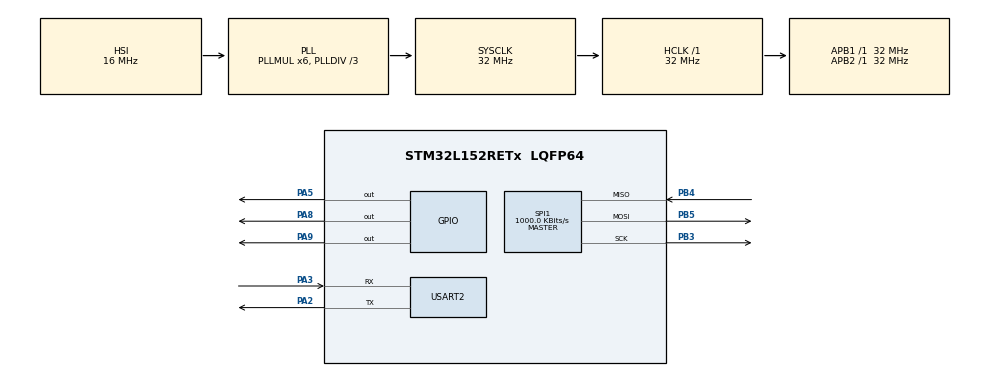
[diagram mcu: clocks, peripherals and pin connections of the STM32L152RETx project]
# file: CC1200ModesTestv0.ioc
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Mcu.Family=STM32L1
Mcu.Name=STM32L152RETx
Mcu.Package=LQFP64
NVIC.PriorityGroup=NVIC_PRIORITYGROUP_0
PA2.Mode=Asynchronous
PA2.Signal=USART2_TX
PA3.Mode=Asynchronous
PA3.Signal=USART2_RX
PA5.Signal=GPIO_Output
PA8.Signal=GPIO_Output
PA9.Signal=GPIO_Output
PB3.Mode=Full_Duplex_Master
PB3.Signal=SPI1_SCK
PB4.Mode=Full_Duplex_Master
PB4.Signal=SPI1_MISO
PB5.Mode=Full_Duplex_Master
PB5.Signal=SPI1_MOSI
ProjectManager.HeapSize=0x200
ProjectManager.StackSize=0x400
ProjectManager.TargetToolchain=MDK-ARM V5
RCC.48MHZClocksFreq_Value=48000000
RCC.AHBFreq_Value=32000000
RCC.APB1Freq_Value=32000000
RCC.APB1TimFreq_Value=32000000
RCC.APB2Freq_Value=32000000
RCC.APB2TimFreq_Value=32000000
RCC.HCLKFreq_Value=32000000
RCC.HSE_VALUE=8000000
RCC.HSI_VALUE=16000000
RCC.LSE_VALUE=32768
RCC.MSI_VALUE=2097000
RCC.PLLDIV=RCC_PLL_DIV3
RCC.PLLMUL=RCC_PLL_MUL6
RCC.RTCClockSelectionVirtual=RCC_RTCCLKSOURCE_LSE
RCC.SYSCLKFreq_VALUE=32000000
RCC.SYSCLKSource=RCC_SYSCLKSOURCE_PLLCLK
RCC.USBOutput=48000000
RCC.VCOOutputFreq_Value=96000000
SPI1.BaudRatePrescaler=SPI_BAUDRATEPRESCALER_32
SPI1.CalculateBaudRate=1000.0 KBits/s
SPI1.Direction=SPI_DIRECTION_2LINES
SPI1.Mode=SPI_MODE_MASTER
SPI1.VirtualType=VM_MASTER
USART2.VirtualMode=VM_ASYNC
board=NUCLEO-L152RE

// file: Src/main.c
/* USER CODE BEGIN Header */
/**
  ******************************************************************************
  * @file           : main.c
  * @brief          : Main program body
  ******************************************************************************
  ** This notice applies to any and all portions of this file
  * that are not between comment pairs USER CODE BEGIN and
  * USER CODE END. Other portions of this file, whether
  * inserted by the user or by software development tools
  * are owned by their respective copyright owners.
  *
  * COPYRIGHT(c) 2019 STMicroelectronics
  *
  * Redistribution and use in source and binary forms, with or without modification,
  * are permitted provided that the following conditions are met:
  *   1. Redistributions of source code must retain the above copyright notice,
  *      this list of conditions and the following disclaimer.
  *   2. Redistributions in binary form must reproduce the above copyright notice,
  *      this list of conditions and the following disclaimer in the documentation
  *      and/or other materials provided with the distribution.
  *   3. Neither the name of STMicroelectronics nor the names of its contributors
  *      may be used to endorse or promote products derived from this software
  *      without specific prior written permission.
  *
  * THIS SOFTWARE IS PROVIDED BY THE COPYRIGHT HOLDERS AND CONTRIBUTORS "AS IS"
  * AND ANY EXPRESS OR IMPLIED WARRANTIES, INCLUDING, BUT NOT LIMITED TO, THE
  * IMPLIED WARRANTIES OF MERCHANTABILITY AND FITNESS FOR A PARTICULAR PURPOSE ARE
  * DISCLAIMED. IN NO EVENT SHALL THE COPYRIGHT HOLDER OR CONTRIBUTORS BE LIABLE
  * FOR ANY DIRECT, INDIRECT, INCIDENTAL, SPECIAL, EXEMPLARY, OR CONSEQUENTIAL
  * DAMAGES (INCLUDING, BUT NOT LIMITED TO, PROCUREMENT OF SUBSTITUTE GOODS OR
  * SERVICES; LOSS OF USE, DATA, OR PROFITS; OR BUSINESS INTERRUPTION) HOWEVER
  * CAUSED AND ON ANY THEORY OF LIABILITY, WHETHER IN CONTRACT, STRICT LIABILITY,
  * OR TORT (INCLUDING NEGLIGENCE OR OTHERWISE) ARISING IN ANY WAY OUT OF THE USE
  * OF THIS SOFTWARE, EVEN IF ADVISED OF THE POSSIBILITY OF SUCH DAMAGE.
  *
  ******************************************************************************
  */
/* USER CODE END Header */

#include "main.h"

/* USER CODE BEGIN Includes */

#include "string.h"

/* USER CODE END Includes */

SPI_HandleTypeDef hspi1;

UART_HandleTypeDef huart2;

void SystemClock_Config(void);
static void MX_GPIO_Init(void);
static void MX_SPI1_Init(void);
static void MX_USART2_UART_Init(void);
/* USER CODE BEGIN PFP */

void trxRfSpiInterfaceInit(uint8_t prescalerValue);
uint8_t trx8BitRegAccess(uint8_t accessType, uint8_t addrByte, uint8_t *pData, int len);

/* USER CODE END PFP */

/* USER CODE BEGIN 0 */

#define TESTS 7

//#define SPI_BEGIN()       SPI_CS_N_PIN = 0                // Pull CSn low to start communication
#define SPI_TX(x)         HAL_SPI_Transmit(&hspi1, x, 1, 10)                    // Load x into SPI buffer
#define SPI_WAIT_READY()  while (HAL_SPI_GetState(&hspi1) != HAL_SPI_STATE_READY)   // Wait for receive buffer to fill
#define SPI_RX(x)         HAL_SPI_Receive(&hspi1, x, 1, 10)                        // SPI buffer to read
//#define SPI_END()         SPI_CS_N_PIN = 1                // Pull CSn high to end communication

#define RADIO_BURST_ACCESS   0x40
#define RADIO_SINGLE_ACCESS  0x00
#define RADIO_READ_ACCESS    0x80
#define RADIO_WRITE_ACCESS   0x00

//#define SPI_TX SPI_WriteByte
//#define SPI_RX SPI_ReadByte

#define RADIO_IDLE 0x36
#define RADIO_NOP 0x3D
#define RADIO_RX 0x34
#define RADIO_TX 0x35

uint8_t pDataRead;

/* USER CODE END 0 */

int main(void)
{

  /* MCU Configuration--------------------------------------------------------*/

  /* Reset of all peripherals, Initializes the Flash interface and the Systick. */
  HAL_Init();

  /* Configure the system clock */
  SystemClock_Config();

  /* Initialize all configured peripherals */
  MX_GPIO_Init();
  MX_SPI1_Init();
  MX_USART2_UART_Init();
  /* USER CODE BEGIN 2 */

	/* Start CC1200 SPI Test Harness
	 *
	 * Wiring:
	 * Reset -- D7 (PA8)
	 * CSN   -- D8 (PA9)
	 * SCLK  -- D3 (PB3)
	 * MOSI  -- D4 (PB5)
	 * MISO  -- D5 (PB4)
	 */

//	//Set CS high
	HAL_GPIO_WritePin(GPIOA, GPIO_PIN_9, GPIO_PIN_SET);

	//Set reset high, low, high to begin
	HAL_GPIO_WritePin(GPIOA, GPIO_PIN_8, GPIO_PIN_SET);
	HAL_Delay(10);
	HAL_GPIO_WritePin(GPIOA, GPIO_PIN_8, GPIO_PIN_RESET);
	HAL_Delay(10);
	HAL_GPIO_WritePin(GPIOA, GPIO_PIN_8, GPIO_PIN_SET);
	HAL_Delay(10);

	volatile uint8_t stByte;
    uint8_t wrData = 0x00;
	uint8_t correct = 0;
	uint8_t testOpener [35] = "\r\n\r\nCC1200 Mode Switching Test...\r\n";
	uint8_t idleOpener [16] = "\r\nIdle Mode...  ";
	uint8_t txOpener [16] = "\r\nTX Mode...    ";
	uint8_t rxOpener [16] = "\r\nRX Mode...    ";
	uint8_t statusCheck [28];
	snprintf((char *)statusCheck, sizeof(statusCheck), "Status byte is 0x.2%u, [%u/%d]\r\n", stByte, correct, TESTS);

//    uint8_t addr;

	HAL_UART_Transmit(&huart2, testOpener, sizeof(testOpener), 1);

	// IDLE test
	HAL_UART_Transmit(&huart2, idleOpener, sizeof(idleOpener), 1);
	stByte = trx8BitRegAccess(RADIO_WRITE_ACCESS | RADIO_SINGLE_ACCESS, RADIO_IDLE, &wrData, sizeof (wrData));
	HAL_Delay(10);
	stByte = trx8BitRegAccess(RADIO_WRITE_ACCESS | RADIO_SINGLE_ACCESS, RADIO_NOP, &wrData, sizeof (wrData));
	HAL_Delay(10);
	if((stByte>>4) == 0){
		correct++;
	}

	snprintf((char *)statusCheck, sizeof(statusCheck), "Status byte is 0x%.2X, [%u/%d]\r\n", stByte, correct, TESTS);
	HAL_UART_Transmit(&huart2, statusCheck, sizeof(statusCheck), 1);

	// TX test
	HAL_UART_Transmit(&huart2, txOpener, sizeof(txOpener), 1);
	stByte = trx8BitRegAccess(RADIO_WRITE_ACCESS | RADIO_SINGLE_ACCESS, RADIO_TX, &wrData, sizeof (wrData));
	HAL_Delay(10);
	stByte = trx8BitRegAccess(RADIO_WRITE_ACCESS | RADIO_SINGLE_ACCESS, RADIO_NOP, &wrData, sizeof (wrData));
	HAL_Delay(10);

	if((stByte>>4) == 2){
		correct++;
	}

	snprintf((char *)statusCheck, sizeof(statusCheck), "Status byte is 0x%.2X, [%u/%d]\r\n", stByte, correct, TESTS);
	HAL_UART_Transmit(&huart2, statusCheck, sizeof(statusCheck), 1);

	// RX test
	HAL_UART_Transmit(&huart2, rxOpener, sizeof(rxOpener), 1);
	stByte = trx8BitRegAccess(RADIO_WRITE_ACCESS | RADIO_SINGLE_ACCESS, RADIO_RX, &wrData, sizeof (wrData));
	HAL_Delay(10);
	stByte = trx8BitRegAccess(RADIO_WRITE_ACCESS | RADIO_SINGLE_ACCESS, RADIO_NOP, &wrData, sizeof (wrData));
	HAL_Delay(10);

	if((stByte>>4) == 1){
		correct++;
	}

	snprintf((char *)statusCheck, sizeof(statusCheck), "Status byte is 0x%.2X, [%u/%d]\r\n", stByte, correct, TESTS);
	HAL_UART_Transmit(&huart2, statusCheck, sizeof(statusCheck), 1);

	// IDLE test
	HAL_UART_Transmit(&huart2, idleOpener, sizeof(idleOpener), 1);
	stByte = trx8BitRegAccess(RADIO_WRITE_ACCESS | RADIO_SINGLE_ACCESS, RADIO_IDLE, &wrData, sizeof (wrData));
	HAL_Delay(10);
	stByte = trx8BitRegAccess(RADIO_WRITE_ACCESS | RADIO_SINGLE_ACCESS, RADIO_NOP, &wrData, sizeof (wrData));
	HAL_Delay(10);
	if((stByte>>4) == 0){
		correct++;
	}

	snprintf((char *)statusCheck, sizeof(statusCheck), "Status byte is 0x%.2X, [%u/%d]\r\n", stByte, correct, TESTS);
	HAL_UART_Transmit(&huart2, statusCheck, sizeof(statusCheck), 1);

	// TX test
	HAL_UART_Transmit(&huart2, txOpener, sizeof(txOpener), 1);
	stByte = trx8BitRegAccess(RADIO_WRITE_ACCESS | RADIO_SINGLE_ACCESS, RADIO_TX, &wrData, sizeof (wrData));
	HAL_Delay(10);
	stByte = trx8BitRegAccess(RADIO_WRITE_ACCESS | RADIO_SINGLE_ACCESS, RADIO_NOP, &wrData, sizeof (wrData));
	HAL_Delay(10);

	if((stByte>>4) == 2){
		correct++;
	}

	snprintf((char *)statusCheck, sizeof(statusCheck), "Status byte is 0x%.2X, [%u/%d]\r\n", stByte, correct, TESTS);
	HAL_UART_Transmit(&huart2, statusCheck, sizeof(statusCheck), 1);

	// RX test
	HAL_UART_Transmit(&huart2, rxOpener, sizeof(rxOpener), 1);
	stByte = trx8BitRegAccess(RADIO_WRITE_ACCESS | RADIO_SINGLE_ACCESS, RADIO_RX, &wrData, sizeof (wrData));
	HAL_Delay(10);
	stByte = trx8BitRegAccess(RADIO_WRITE_ACCESS | RADIO_SINGLE_ACCESS, RADIO_NOP, &wrData, sizeof (wrData));
	HAL_Delay(10);

	if((stByte>>4) == 1){
		correct++;
	}

	snprintf((char *)statusCheck, sizeof(statusCheck), "Status byte is 0x%.2X, [%u/%d]\r\n", stByte, correct, TESTS);
	HAL_UART_Transmit(&huart2, statusCheck, sizeof(statusCheck), 1);

	// IDLE test
	HAL_UART_Transmit(&huart2, idleOpener, sizeof(idleOpener), 1);
	stByte = trx8BitRegAccess(RADIO_WRITE_ACCESS | RADIO_SINGLE_ACCESS, RADIO_IDLE, &wrData, sizeof (wrData));
	HAL_Delay(10);
	stByte = trx8BitRegAccess(RADIO_WRITE_ACCESS | RADIO_SINGLE_ACCESS, RADIO_NOP, &wrData, sizeof (wrData));
	HAL_Delay(10);
	if((stByte>>4) == 0){
		correct++;
	}

	snprintf((char *)statusCheck, sizeof(statusCheck), "Status byte is 0x%.2X, [%u/%d]\r\n", stByte, correct, TESTS);
	HAL_UART_Transmit(&huart2, statusCheck, sizeof(statusCheck), 1);

	if (correct == TESTS){
		uint8_t finishMsg [50] = "Success! CC1200 mode switching is operational\r\n";
		snprintf((char *)finishMsg, sizeof(finishMsg), "\r\n[%u/%d] Success! Mode switching is operational\r\n", correct, TESTS);
		HAL_UART_Transmit(&huart2, finishMsg, sizeof(finishMsg), 1);
	} else {
		uint8_t finishMsg [78];
		snprintf((char *)finishMsg, sizeof(finishMsg), "\r\n[%u/%d] Mode switching failure... check your wiring and pin initialization\r\n", correct, TESTS);
		HAL_UART_Transmit(&huart2, finishMsg, sizeof(finishMsg), 1);
	}

	uint8_t Msg2 [78];
	uint8_t Msg1 [78];

// Test reading a register value

	// Chip select low
	HAL_GPIO_WritePin(GPIOA, GPIO_PIN_9, GPIO_PIN_RESET);

	uint8_t addrHI = 0xAF;
	uint8_t addrLO = 0x02;
	uint8_t readValue = 0;

	// CC1200 read/write
	HAL_SPI_Transmit(&hspi1,&addrHI, 1, 10);
	HAL_SPI_Transmit(&hspi1,&addrLO, 1, 10);
	while (HAL_SPI_GetState(&hspi1) != HAL_SPI_STATE_READY){};

	HAL_SPI_Transmit(&hspi1,0x0, 1, 10);
	HAL_SPI_Receive(&hspi1, &readValue, 1, 10);

	// Chip select high
	HAL_GPIO_WritePin(GPIOA, GPIO_PIN_9, GPIO_PIN_SET);

	snprintf((char *)Msg1, sizeof(Msg1), "\r\nSup, this is a new test and the value is now: 0x%x\r\n", readValue);
	HAL_UART_Transmit(&huart2, Msg1, sizeof(Msg1), 1);

	// Test writing to a register and read the value that we are writing

	addrHI = 0x2F;
  addrLO = 0x02;
	readValue = 0;
	uint8_t writeValue = 0xA;

	// Chip select low
	HAL_GPIO_WritePin(GPIOA, GPIO_PIN_9, GPIO_PIN_RESET);

	HAL_SPI_Transmit(&hspi1,&addrHI, 1, 10);
	HAL_SPI_Transmit(&hspi1,&addrLO, 1, 10);
	while (HAL_SPI_GetState(&hspi1) != HAL_SPI_STATE_READY){};

	HAL_SPI_Transmit(&hspi1,&writeValue, 1, 10);
	HAL_SPI_Receive(&hspi1, &readValue, 1, 10);

	HAL_GPIO_WritePin(GPIOA, GPIO_PIN_9, GPIO_PIN_SET);
	snprintf((char *)Msg1, sizeof(Msg1), "\r\nWrite complete\r\n");
	HAL_UART_Transmit(&huart2, Msg1, sizeof(Msg1), 1);

	// Chip select high
	HAL_GPIO_WritePin(GPIOA, GPIO_PIN_9, GPIO_PIN_SET);

	// Chip select low
	HAL_GPIO_WritePin(GPIOA, GPIO_PIN_9, GPIO_PIN_RESET);

	addrHI = 0xAF;
	addrLO = 0x02;
	readValue = 0;

	// CC1200 read/write
	HAL_SPI_Transmit(&hspi1,&addrHI, 1, 10);
	HAL_SPI_Transmit(&hspi1,&addrLO, 1, 10);
	while (HAL_SPI_GetState(&hspi1) != HAL_SPI_STATE_READY){};

	HAL_SPI_Transmit(&hspi1,0x0, 1, 10);
	HAL_SPI_Receive(&hspi1, &readValue, 1, 10);

	// Chip select high
	HAL_GPIO_WritePin(GPIOA, GPIO_PIN_9, GPIO_PIN_SET);

	snprintf((char *)Msg1, sizeof(Msg1), "\r\nSup, this is a new test and the value is now: 0x%x\r\n", readValue);
	HAL_UART_Transmit(&huart2, Msg1, sizeof(Msg1), 1);

  /* USER CODE END 2 */

  /* Infinite loop */
  while (1)
  {

  }
}

void SystemClock_Config(void)
{
  RCC_OscInitTypeDef RCC_OscInitStruct = {0};
  RCC_ClkInitTypeDef RCC_ClkInitStruct = {0};

  /**Configure the main internal regulator output voltage
  */
  __HAL_PWR_VOLTAGESCALING_CONFIG(PWR_REGULATOR_VOLTAGE_SCALE1);
  /**Initializes the CPU, AHB and APB busses clocks
  */
  RCC_OscInitStruct.OscillatorType = RCC_OSCILLATORTYPE_HSI;
  RCC_OscInitStruct.HSIState = RCC_HSI_ON;
  RCC_OscInitStruct.HSICalibrationValue = RCC_HSICALIBRATION_DEFAULT;
  RCC_OscInitStruct.PLL.PLLState = RCC_PLL_ON;
  RCC_OscInitStruct.PLL.PLLSource = RCC_PLLSOURCE_HSI;
  RCC_OscInitStruct.PLL.PLLMUL = RCC_PLL_MUL6;
  RCC_OscInitStruct.PLL.PLLDIV = RCC_PLL_DIV3;
  if (HAL_RCC_OscConfig(&RCC_OscInitStruct) != HAL_OK)
  {
    Error_Handler();
  }
  /**Initializes the CPU, AHB and APB busses clocks
  */
  RCC_ClkInitStruct.ClockType = RCC_CLOCKTYPE_HCLK|RCC_CLOCKTYPE_SYSCLK
                              |RCC_CLOCKTYPE_PCLK1|RCC_CLOCKTYPE_PCLK2;
  RCC_ClkInitStruct.SYSCLKSource = RCC_SYSCLKSOURCE_PLLCLK;
  RCC_ClkInitStruct.AHBCLKDivider = RCC_SYSCLK_DIV1;
  RCC_ClkInitStruct.APB1CLKDivider = RCC_HCLK_DIV1;
  RCC_ClkInitStruct.APB2CLKDivider = RCC_HCLK_DIV1;

  if (HAL_RCC_ClockConfig(&RCC_ClkInitStruct, FLASH_LATENCY_1) != HAL_OK)
  {
    Error_Handler();
  }
}

static void MX_SPI1_Init(void)
{

  /* SPI1 parameter configuration*/
  hspi1.Instance = SPI1;
  hspi1.Init.Mode = SPI_MODE_MASTER;
  hspi1.Init.Direction = SPI_DIRECTION_2LINES;
  hspi1.Init.DataSize = SPI_DATASIZE_8BIT;
  hspi1.Init.CLKPolarity = SPI_POLARITY_LOW;
  hspi1.Init.CLKPhase = SPI_PHASE_1EDGE;
  hspi1.Init.NSS = SPI_NSS_SOFT;
  hspi1.Init.BaudRatePrescaler = SPI_BAUDRATEPRESCALER_32;
  hspi1.Init.FirstBit = SPI_FIRSTBIT_MSB;
  hspi1.Init.TIMode = SPI_TIMODE_DISABLE;
  hspi1.Init.CRCCalculation = SPI_CRCCALCULATION_DISABLE;
  hspi1.Init.CRCPolynomial = 10;
  if (HAL_SPI_Init(&hspi1) != HAL_OK)
  {
    Error_Handler();
  }

}

static void MX_USART2_UART_Init(void)
{

  huart2.Instance = USART2;
  huart2.Init.BaudRate = 115200;
  huart2.Init.WordLength = UART_WORDLENGTH_8B;
  huart2.Init.StopBits = UART_STOPBITS_1;
  huart2.Init.Parity = UART_PARITY_NONE;
  huart2.Init.Mode = UART_MODE_TX_RX;
  huart2.Init.HwFlowCtl = UART_HWCONTROL_NONE;
  huart2.Init.OverSampling = UART_OVERSAMPLING_16;
  if (HAL_UART_Init(&huart2) != HAL_OK)
  {
    Error_Handler();
  }

}

static void MX_GPIO_Init(void)
{
  GPIO_InitTypeDef GPIO_InitStruct = {0};

  /* GPIO Ports Clock Enable */
  __HAL_RCC_GPIOA_CLK_ENABLE();
  __HAL_RCC_GPIOB_CLK_ENABLE();

  /*Configure GPIO pin Output Level */
  HAL_GPIO_WritePin(GPIOA, GPIO_PIN_5|GPIO_PIN_8|GPIO_PIN_9, GPIO_PIN_RESET);

  /*Configure GPIO pins : PA5 PA8 PA9 */
  GPIO_InitStruct.Pin = GPIO_PIN_5|GPIO_PIN_8|GPIO_PIN_9;
  GPIO_InitStruct.Mode = GPIO_MODE_OUTPUT_PP;
  GPIO_InitStruct.Pull = GPIO_NOPULL;
  GPIO_InitStruct.Speed = GPIO_SPEED_FREQ_LOW;
  HAL_GPIO_Init(GPIOA, &GPIO_InitStruct);

}

/* USER CODE BEGIN 4 */

static void trxReadWriteBurstSingle(uint8_t addr, uint8_t *pData, int len)
{
    int i;
    uint8_t dummy;
	pDataRead = *pData;
    /* Communicate len number of bytes: if RX - the procedure sends 0x00 to push bytes from slave*/
    if (addr & RADIO_READ_ACCESS) {
        if (addr & RADIO_BURST_ACCESS) {
            for (i = 0; i < len; i++) {

				HAL_SPI_Transmit(&hspi1,0x0, 1, 10);
                while (HAL_SPI_GetState(&hspi1) != HAL_SPI_STATE_READY);
                HAL_SPI_Receive(&hspi1, pData, 1, 10);
                pData++;

            }
        } else {
			HAL_SPI_Transmit(&hspi1,0x0, 1, 10);
            while (HAL_SPI_GetState(&hspi1) != HAL_SPI_STATE_READY);
            HAL_SPI_Receive(&hspi1, pData, 1, 10);
        }
    } else {
        if (addr & RADIO_BURST_ACCESS) {
            /* Communicate len number of bytes: if TX - the procedure doesn't overwrite pData */
            for (i = 0; i < len; i++) {
				HAL_SPI_Transmit(&hspi1,pData, 1, 10);
                while (HAL_SPI_GetState(&hspi1) != HAL_SPI_STATE_READY);
				HAL_SPI_Receive(&hspi1, &dummy, 1, 10);
                pData++;
            }
        } else {
			HAL_SPI_Transmit(&hspi1,pData, 1, 10);
            while (HAL_SPI_GetState(&hspi1) != HAL_SPI_STATE_READY);
			HAL_SPI_Receive(&hspi1, &dummy, 1, 10);
        }
    }
}

uint8_t trx8BitRegAccess(uint8_t accessType, uint8_t addrByte, uint8_t *pData, int len)
{
	uint8_t addr;
	uint8_t readValue  = 0;
	addr = accessType | addrByte;

	HAL_GPIO_WritePin(GPIOA, GPIO_PIN_9, GPIO_PIN_RESET);

	HAL_SPI_Transmit(&hspi1,&addr, 1, 10);
	while (HAL_SPI_GetState(&hspi1) != HAL_SPI_STATE_READY){};
	HAL_SPI_Receive(&hspi1, &readValue, 1, 10);
	trxReadWriteBurstSingle(accessType | addrByte, pData, len);

	HAL_GPIO_WritePin(GPIOA, GPIO_PIN_9, GPIO_PIN_SET);

    return (readValue);
}

/* USER CODE END 4 */

void Error_Handler(void)
{
}

/************************ (C) COPYRIGHT STMicroelectronics *****END OF FILE****/
